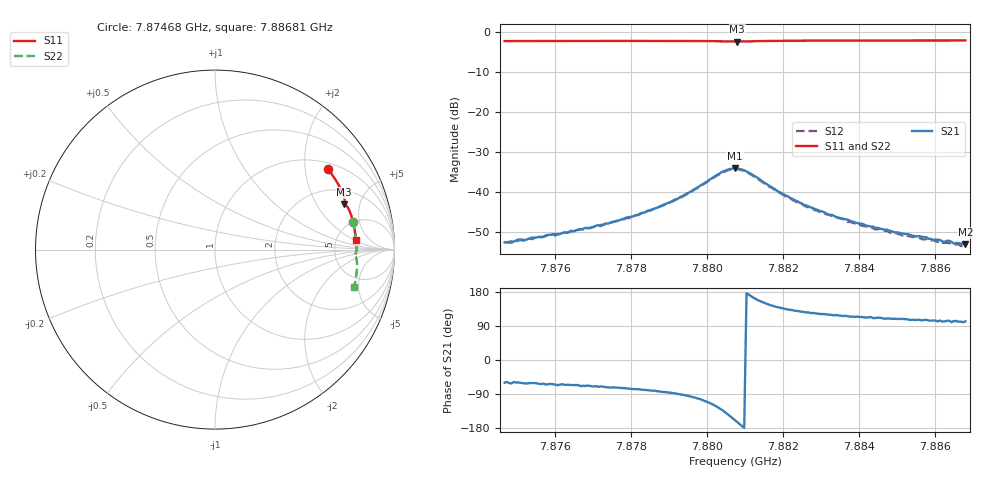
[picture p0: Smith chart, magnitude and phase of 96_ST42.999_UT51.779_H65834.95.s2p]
#  HZ  S  DB  R  50.00
! Rohde & Schwarz Vector Network Analyzer
! Rohde-Schwarz,ZNB20-2Port,1311601062101988,3.16
! Created: UTC 1/12/2023, 6:36:21 PM
! freq[Hz]  db:S11  ang:S11  db:S21  ang:S21  db:S12  ang:S12  db:S22  ang:S22
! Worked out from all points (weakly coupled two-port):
!   201 points, 7.87468 GHz to 7.88681 GHz, reference 50 ohm
!   highest |S21| = -34.05 dB at 7.88075 GHz (marker M1); lowest = -53.0 dB at 7.88681 GHz (marker M2)
!   lowest |S11| = -2.3 dB at 7.88081 GHz (marker M3), VSWR 7.45, Z = 147 + j178 ohm
!   |S11| at or under -10 dB: nowhere
!   |S22| runs from -2.2 to -1.9 dB; largest |S21 - S12| = 0.0013
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7.87468e9  -2.24 35.4  -52.58 -59.9  -52.47 -61.7  -2.14 11.4
7.874923e9  -2.23 34.8  -52.36 -58.0  -52.60 -63.1  -2.14 10.8
7.875044e9  -2.23 34.4  -51.81 -59.4  -52.14 -62.9  -2.13 10.5
7.875165e9  -2.23 34.1  -52.15 -61.1  -51.88 -63.2  -2.12 10.2
7.875954e9  -2.21 31.9  -50.49 -63.7  -50.52 -68.0  -2.11 8.4
7.876015e9  -2.21 31.8  -50.88 -65.1  -50.49 -67.4  -2.11 8.2
7.876742e9  -2.20 29.8  -49.19 -67.8  -49.43 -70.9  -2.08 6.6
7.876803e9  -2.20 29.6  -48.95 -68.6  -48.89 -71.0  -2.07 6.4
7.877228e9  -2.19 28.5  -48.17 -69.3  -48.44 -74.4  -2.07 5.4
7.877955e9  -2.19 26.4  -46.22 -75.4  -46.50 -78.4  -2.06 3.7
7.878744e9  -2.19 24.2  -43.68 -82.6  -43.70 -85.8  -2.05 1.8
7.879411e9  -2.20 22.3  -40.76 -92.4  -40.91 -96.4  -2.06 0.2
7.880442e9  -2.32 19.7  -34.78 -134.4  -34.99 -138.0  -2.18 -2.1
7.880746e9  -2.34 19.4  -34.05 -158.9  -34.25 -162.2  -2.21 -2.3
7.880806e9  -2.34 19.3  -34.09 -164.2  -34.27 -167.4  -2.22 -2.3
7.881109e9  -2.30 19.0  -35.12 172.4  -35.30 168.9  -2.16 -2.5
7.881898e9  -2.18 17.0  -39.97 138.8  -40.08 134.8  -2.03 -4.1
7.882808e9  -2.13 14.4  -44.05 124.0  -44.30 120.2  -1.98 -6.3
7.883718e9  -2.12 12.0  -46.90 115.4  -47.45 111.6  -1.95 -8.4
7.884809e9  -2.10 9.1  -49.65 109.7  -50.07 106.9  -1.94 -10.8
7.88669e9  -2.08 4.2  -52.90 101.4  -53.47 96.9  -1.92 -14.9
7.886811e9  -2.08 3.8  -53.02 102.1  -53.24 98.8  -1.91 -15.1
